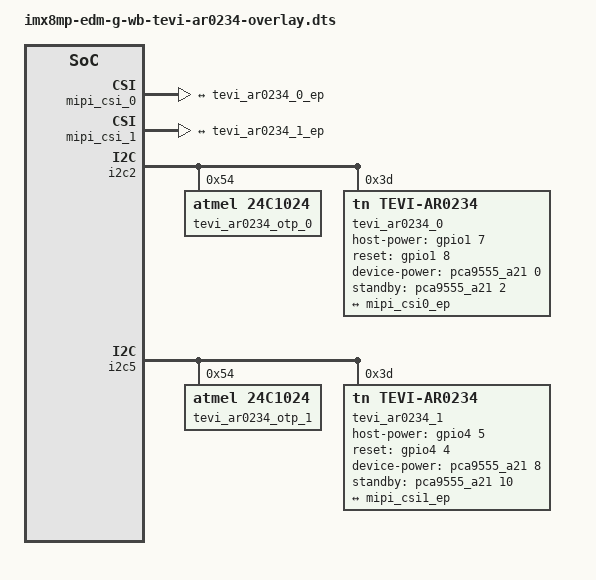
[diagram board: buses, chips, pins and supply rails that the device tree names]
// SPDX-License-Identifier: (GPL-2.0+ OR MIT)
/*
 * Copyright 2020 TechNexion Ltd.
 *
 * Author: Richard Hu <richard.hu@technexion.com>
 *         Ray Chang <ray.chang@technexion.com>
 *
 */

/dts-v1/;
/plugin/;

#include <dt-bindings/interrupt-controller/irq.h>
#include <dt-bindings/clock/imx8mp-clock.h>
#include <dt-bindings/gpio/gpio.h>

/ {
	fragment@0 {
		target = <&mipi_csi_0>;
		__overlay__ {
			#address-cells = <1>;
			#size-cells = <0>;
			status = "okay";

			port@0 {
				reg = <0>;
				mipi_csi0_ep: endpoint {
					remote-endpoint = <&tevi_ar0234_0_ep>;
					data-lanes = <4>;
					csis-hs-settle = <13>;
					csis-clk-settle = <2>;
					csis-wclk;
				};
			};
		};
	};

	fragment@1 {
		target = <&mipi_csi_1>;
		__overlay__ {
			#address-cells = <1>;
			#size-cells = <0>;
			status = "okay";

			port@1 {
				reg = <1>;
				mipi_csi1_ep: endpoint {
					remote-endpoint = <&tevi_ar0234_1_ep>;
					data-lanes = <4>;
					csis-hs-settle = <13>;
					csis-clk-settle = <2>;
					csis-wclk;
				};
			};
		};
	};

	fragment@2 {
		target = <&i2c2>;
		__overlay__ {
			#address-cells = <1>;
			#size-cells = <0>;

			tevi_ar0234_otp_0: tevi_ar0234_otp@54 {
				compatible = "atmel,24c1024";
				reg = <0x54>;
				//read-only;
			};

			tevi_ar0234_0: tevi_ar0234@3d {
				compatible = "tn,tevi-ar0234";
				reg = <0x3d>;

				pinctrl-names = "default";
				pinctrl-0 = <&pinctrl_csi0_pwn>, <&pinctrl_csi0_rst>;
				host-power-gpios = <&gpio1 7 GPIO_ACTIVE_HIGH>;
				reset-gpios = <&gpio1 8 GPIO_ACTIVE_HIGH>;
				device-power-gpios = <&pca9555_a21 0 GPIO_ACTIVE_HIGH>;
				standby-gpios = <&pca9555_a21 2 GPIO_ACTIVE_HIGH>;
				nvmem = <&tevi_ar0234_otp_0>;
				nvmem-names = "calib-data";
				status = "okay";

				port {
					tevi_ar0234_0_ep: endpoint {
						remote-endpoint = <&mipi_csi0_ep>;
					};
				};
			};
		};
	};

	fragment@3 {
		target = <&i2c5>;
		__overlay__ {
			#address-cells = <1>;
			#size-cells = <0>;

			tevi_ar0234_otp_1: tevi_ar0234_otp@54 {
				compatible = "atmel,24c1024";
				reg = <0x54>;
				//read-only;
			};

			tevi_ar0234_1: tevi_ar0234@3d {
				compatible = "tn,tevi-ar0234";
				reg = <0x3d>;

				pinctrl-names = "default";
				pinctrl-0 = <&pinctrl_csi1_pwn>, <&pinctrl_csi1_rst>;
				host-power-gpios = <&gpio4 5 GPIO_ACTIVE_HIGH>;
				reset-gpios = <&gpio4 4 GPIO_ACTIVE_HIGH>;
				device-power-gpios = <&pca9555_a21 8 GPIO_ACTIVE_HIGH>;
				standby-gpios = <&pca9555_a21 10 GPIO_ACTIVE_HIGH>;
				nvmem = <&tevi_ar0234_otp_1>;
				nvmem-names = "calib-data";
				status = "okay";

				port {
					tevi_ar0234_1_ep: endpoint {
						remote-endpoint = <&mipi_csi1_ep>;
					};
				};
			};
		};
	};
};
